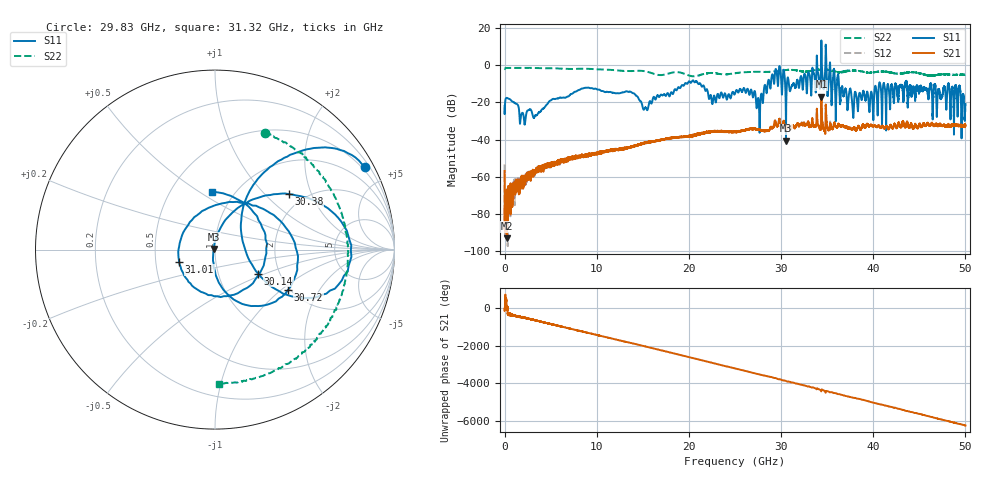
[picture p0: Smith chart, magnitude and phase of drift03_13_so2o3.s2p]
!Created with skrf (http://scikit-rf.org).
# Hz S RI R 50.0
!freq ReS11 ImS11 ReS21 ImS21 ReS12 ImS12 ReS22 ImS22
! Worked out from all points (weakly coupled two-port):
!   10001 points, 300 kHz to 50 GHz, reference 50 ohm
!   highest |S21| = -17.00 dB at 34.38 GHz (marker M1); lowest = -93.2 dB at 230.3 MHz (marker M2)
!   lowest |S11| = -40.7 dB at 30.53 GHz (marker M3), VSWR 1.02, Z = 49.2 + j0.413 ohm
!   |S11| at or under -10 dB: start of sweep to 19.56 GHz; 21.25 GHz to 28.55 GHz (7.295 GHz wide, 29.3 % of centre); 36.28 GHz to 40.63 GHz (4.347 GHz wide, 11.3 % of centre) (the widest 3 of 38)
!   |S22| runs from -5.9 to -1.3 dB; largest |S21 - S12| = 0.026
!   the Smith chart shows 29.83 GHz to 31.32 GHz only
!   S11 on the Smith chart (normalised r, x): 29.83 GHz: 0.39, +3.87; 30.14 GHz: 1.55, -0.45; 30.38 GHz: 1.66, +1.40; 30.72 GHz: 1.95, -1.12; 31.01 GHz: 0.66, -0.09; 31.32 GHz: 0.79, +0.56
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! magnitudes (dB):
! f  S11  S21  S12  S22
! 300 kHz  -21.9  -57.0  -53.4  -2.1
! 230.3 MHz  -17.5  -93.2  -66.8  -1.4
! 3.3 GHz  -27.2  -57.3  -56.3  -1.5
! 8.335 GHz  -12.6  -49.4  -49.0  -1.9
! 15.29 GHz  -22.7  -41.8  -41.8  -3.3
! 16.67 GHz  -16.6  -40.4  -40.4  -5.2
! 20.26 GHz  -9.2  -37.8  -37.8  -5.8
! 22.71 GHz  -16.5  -35.6  -35.7  -4.2
! 25 GHz  -15.3  -35.6  -36.0  -4.3
! 27.53 GHz  -17.9  -34.3  -34.5  -3.5
! 29.83 GHz  -0.4  -29.4  -28.4  -3.0
! 30.14 GHz  -11.2  -33.2  -33.5  -2.8
! 30.38 GHz  -5.8  -32.3  -32.5  -2.6
! 30.53 GHz  -40.7  -34.1  -34.1  -2.6
! 30.72 GHz  -6.7  -32.8  -32.7  -2.5
! 31.01 GHz  -13.5  -34.4  -34.2  -2.5
! 31.32 GHz  -9.9  -32.3  -32.5  -2.5
! 33.34 GHz  -7.4  -31.2  -31.2  -2.9
! 34.38 GHz  13.0  -17.0  -18.2  -2.3
! 37.84 GHz  -28.2  -33.9  -34.4  -2.8
! 41.67 GHz  -11.8  -34.2  -34.1  -3.6
! 50 GHz  -20.8  -32.4  -32.9  -5.0
